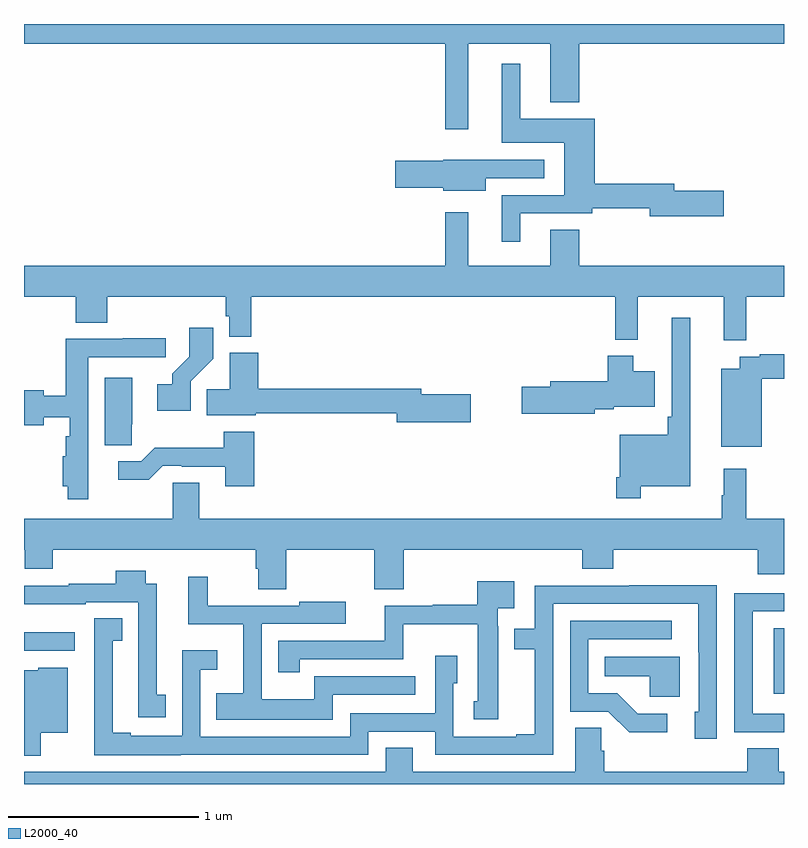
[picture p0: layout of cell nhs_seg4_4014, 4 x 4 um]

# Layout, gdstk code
import gdstk
lib = gdstk.Library(unit=1e-6, precision=1e-09)
def R(c, l, rs):  # rectangles x0, y0, x1, y1
    for r in rs: c.add(gdstk.rectangle(r[:2], r[2:], *l))
def P(c, l, *ps):  # polygons
    for p in ps: c.add(gdstk.Polygon(p, *l))
L2000_40 = (2000, 40)

nhs_seg4_4014 = lib.new_cell('nhs_seg4_4014')
R(nhs_seg4_4014, L2000_40, [(326.945,817.376,327,817.72), (323,817.602,323.266,817.699)])
P(nhs_seg4_4014, L2000_40, [(325.339,820.796),(325.769,820.796),(325.769,820.487),(325.922,820.487),(325.922,820.796),(327,820.796),(327,820.9),(323,820.9),(323,820.796),(325.218,820.796),(325.218,820.347),(325.339,820.347)],
  [(325.612,819.903),(325.99,819.903),(325.99,819.93),(326.294,819.93),(326.294,819.887),(326.683,819.887),(326.683,820.022),(326.422,820.022),(326.422,820.058),(326.003,820.058),(326.003,820.402),(325.612,820.402),(325.612,820.69),(325.514,820.69),(325.514,820.274),(325.844,820.274),(325.844,819.999),(325.514,819.999),(325.514,819.753),(325.612,819.753)],
  [(325.429,820.089),(325.738,820.089),(325.738,820.185),(325.425,820.185),(325.425,820.186),(325.206,820.186),(325.206,820.181),(324.954,820.181),(324.954,820.039),(325.206,820.039),(325.206,820.022),(325.429,820.022)],
  [(326.801,819.464),(327,819.464),(327,819.628),(325.922,819.628),(325.922,819.818),(325.769,819.818),(325.769,819.628),(325.339,819.628),(325.339,819.91),(325.218,819.91),(325.218,819.628),(323,819.628),(323,819.464),(323.273,819.464),(323.273,819.328),(323.438,819.328),(323.438,819.464),(324.061,819.464),(324.061,819.363),(324.081,819.363),(324.081,819.254),(324.197,819.254),(324.197,819.464),(326.113,819.464),(326.113,819.239),(326.231,819.239),(326.231,819.464),(326.684,819.464),(326.684,819.235),(326.801,819.235)],
  [(326.245,818.468),(326.506,818.468),(326.506,819.355),(326.409,819.355),(326.409,818.833),(326.389,818.833),(326.389,818.737),(326.136,818.737),(326.136,818.515),(326.116,818.515),(326.116,818.403),(326.245,818.403)],
  [(323.877,819.019),(323.996,819.138),(323.996,819.301),(323.871,819.301),(323.871,819.149),(323.78,819.059),(323.78,819.004),(323.7,819.004),(323.7,818.864),(323.877,818.864)],
  [(323.338,818.622),(323.337,818.622),(323.337,819.147),(323.746,819.147),(323.746,819.246),(323.521,819.246),(323.521,819.243),(323.221,819.243),(323.221,818.944),(323.104,818.944),(323.104,818.972),(323,818.972),(323,818.789),(323.104,818.789),(323.104,818.831),(323.24,818.831),(323.24,818.729),(323.221,818.729),(323.221,818.626),(323.204,818.626),(323.204,818.468),(323.229,818.468),(323.229,818.4),(323.338,818.4)],
  [(325.351,818.951),(325.09,818.951),(325.09,818.98),(324.233,818.98),(324.233,819.169),(324.083,819.169),(324.083,818.978),(323.962,818.978),(323.962,818.84),(324.22,818.84),(324.22,818.851),(324.962,818.851),(324.962,818.804),(325.351,818.804)],
  [(326.884,819.034),(327,819.034),(327,819.163),(326.872,819.163),(326.872,819.15),(326.768,819.15),(326.768,819.085),(326.669,819.085),(326.669,818.675),(326.884,818.675)],
  [(326.004,818.873),(326.104,818.873),(326.104,818.885),(326.32,818.885),(326.32,819.073),(326.206,819.073),(326.206,819.154),(326.072,819.154),(326.072,819.021),(325.769,819.021),(325.769,818.991),(325.62,818.991),(325.62,818.849),(326.004,818.849)],
  [(323.568,818.794),(323.569,818.794),(323.569,819.037),(323.426,819.037),(323.426,818.683),(323.568,818.683)],
  [(324.212,818.755),(324.052,818.755),(324.052,818.671),(323.689,818.671),(323.616,818.598),(323.496,818.598),(323.496,818.501),(323.657,818.501),(323.73,818.574),(323.83,818.574),(323.83,818.571),(324.059,818.571),(324.059,818.466),(324.212,818.466)],
  [(324.381,818.132),(324.844,818.132),(324.844,817.924),(324.999,817.924),(324.999,818.132),(325.937,818.132),(325.937,818.033),(326.102,818.033),(326.102,818.132),(326.861,818.132),(326.861,818.004),(327,818.004),(327,818.296),(326.801,818.296),(326.801,818.56),(326.684,818.56),(326.684,818.42),(326.673,818.42),(326.673,818.296),(323.923,818.296),(323.923,818.486),(323.784,818.486),(323.784,818.296),(323,818.296),(323,818.132),(323.003,818.132),(323.003,818.033),(323.151,818.033),(323.151,818.132),(324.221,818.132),(324.221,818.034),(324.233,818.034),(324.233,817.924),(324.381,817.924)],
  [(323.747,817.371),(323.698,817.371),(323.698,817.953),(323.641,817.953),(323.641,818.023),(323.482,818.023),(323.482,817.954),(323.235,817.954),(323.235,817.944),(323,817.944),(323,817.847),(323.325,817.847),(323.325,817.857),(323.601,817.857),(323.601,817.574),(323.6,817.574),(323.6,817.251),(323.747,817.251)],
  [(324.624,817.371),(325.06,817.371),(325.06,817.467),(324.631,817.467),(324.631,817.466),(324.528,817.466),(324.528,817.345),(324.252,817.345),(324.252,817.743),(324.694,817.743),(324.694,817.858),(324.449,817.858),(324.449,817.839),(323.966,817.839),(323.966,817.99),(323.864,817.99),(323.864,817.742),(324.155,817.742),(324.155,817.378),(324.013,817.378),(324.013,817.238),(324.624,817.238)],
  [(325.495,817.73),(325.494,817.73),(325.494,817.826),(325.579,817.826),(325.579,817.966),(325.386,817.966),(325.386,817.844),(325.152,817.844),(325.152,817.839),(324.899,817.839),(324.899,817.653),(324.337,817.653),(324.337,817.488),(324.45,817.488),(324.45,817.557),(324.997,817.557),(324.997,817.742),(325.388,817.742),(325.388,817.335),(325.367,817.335),(325.367,817.242),(325.495,817.242)],
  [(323.825,817.053),(324.813,817.053),(324.813,817.176),(325.164,817.176),(325.164,817.053),(325.785,817.053),(325.785,817.848),(326.549,817.848),(326.549,817.594),(326.55,817.594),(326.55,817.281),(326.531,817.281),(326.531,817.137),(326.646,817.137),(326.646,817.946),(326.185,817.946),(326.185,817.944),(325.689,817.944),(325.689,817.716),(325.58,817.716),(325.58,817.608),(325.688,817.608),(325.688,817.162),(325.592,817.162),(325.592,817.149),(325.26,817.149),(325.26,817.431),(325.279,817.431),(325.279,817.576),(325.164,817.576),(325.164,817.272),(324.717,817.272),(324.717,817.149),(323.928,817.149),(323.928,817.502),(324.016,817.502),(324.016,817.603),(323.832,817.603),(323.832,817.153),(323.563,817.153),(323.563,817.171),(323.467,817.171),(323.467,817.654),(323.516,817.654),(323.516,817.772),(323.37,817.772),(323.37,817.509),(323.369,817.509),(323.369,817.052),(323.825,817.052)],
  [(327,817.269),(326.835,817.269),(326.835,817.809),(327,817.809),(327,817.905),(326.739,817.905),(326.739,817.173),(327,817.173)],
  [(326.386,817.269),(326.23,817.269),(326.122,817.377),(325.971,817.377),(325.971,817.662),(326.41,817.662),(326.41,817.758),(325.875,817.758),(325.875,817.281),(326.076,817.281),(326.186,817.172),(326.386,817.172)],
  [(326.452,817.57),(326.056,817.57),(326.056,817.466),(326.294,817.466),(326.294,817.358),(326.452,817.358)],
  [(323.089,817.169),(323.23,817.169),(323.23,817.513),(323.076,817.513),(323.076,817.498),(323,817.498),(323,817.049),(323.089,817.049)],
  [(326.054,817.076),(326.039,817.076),(326.039,817.196),(325.901,817.196),(325.901,816.964),(325.045,816.964),(325.045,817.091),(324.905,817.091),(324.905,816.964),(323,816.964),(323,816.9),(327,816.9),(327,816.964),(326.972,816.964),(326.972,817.088),(326.807,817.088),(326.807,816.964),(326.054,816.964)])

lib.write_gds('nhs_seg4_4014.gds')
